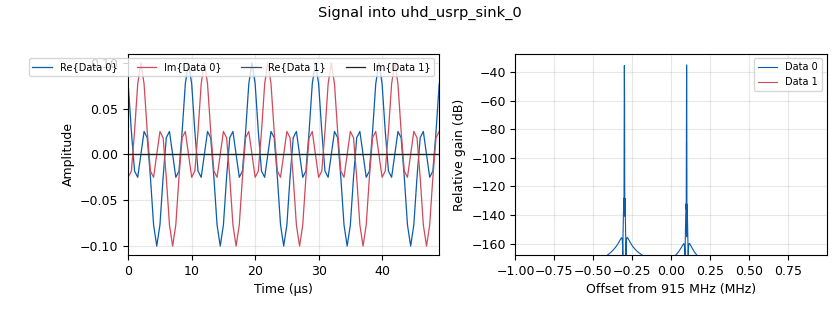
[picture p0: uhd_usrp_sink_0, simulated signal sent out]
<?xml version='1.0' encoding='utf-8'?>
<?grc format='1' created='3.7.13'?>
<flow_graph>
<block>
<key>options</key>
<param><key>id</key><value>top_block</value></param>
<param><key>generate_options</key><value>qt_gui</value></param>
</block>
<block>
<key>variable</key>
<param><key>id</key><value>bw</value></param>
<param><key>value</key><value>2e6</value></param>
</block>
<block>
<key>variable</key>
<param><key>id</key><value>center_freq</value></param>
<param><key>value</key><value>915e6</value></param>
</block>
<block>
<key>variable</key>
<param><key>id</key><value>fft_size</value></param>
<param><key>value</key><value>len(master_signal_1)</value></param>
</block>
<block>
<key>variable</key>
<param><key>id</key><value>master_signal_1</value></param>
<param><key>value</key><value>(0, 0, 0, 0, 0, 0, 0, 1, 0, 0, 0, 1, 0, 0, 0, 0, 0,  0, 0, 0)</value></param>
</block>
<block>
<key>variable</key>
<param><key>id</key><value>master_signal_2</value></param>
<param><key>value</key><value>(0, 0, 0, 0, 0,  0, 1, 0, 0, 0, 0, 0, 1, 0, 0, 0, 0, 0, 0, 0)</value></param>
</block>
<block>
<key>variable</key>
<param><key>id</key><value>power_gain</value></param>
<param><key>value</key><value>50</value></param>
</block>
<block>
<key>variable</key>
<param><key>id</key><value>samp_rate</value></param>
<param><key>value</key><value>2e6</value></param>
</block>
<block>
<key>blocks_file_sink</key>
<param><key>id</key><value>blocks_file_sink_0</value></param>
<param><key>file</key><value>/home/shiyue_deep/Desktop/master_rx_raw_data.bin</value></param>
<param><key>type</key><value>complex</value></param>
</block>
<block>
<key>blocks_multiply_const_vxx</key>
<param><key>id</key><value>blocks_multiply_const_vxx_0</value></param>
<param><key>const</key><value>0.05</value></param>
<param><key>type</key><value>complex</value></param>
</block>
<block>
<key>blocks_multiply_const_vxx</key>
<param><key>id</key><value>blocks_multiply_const_vxx_0_0</value></param>
<param><key>const</key><value>0</value></param>
<param><key>type</key><value>complex</value></param>
</block>
<block>
<key>blocks_null_sink</key>
<param><key>id</key><value>blocks_null_sink_0</value></param>
<param><key>bus_conns</key><value>[[0,],]</value></param>
<param><key>type</key><value>complex</value></param>
</block>
<block>
<key>blocks_stream_to_vector</key>
<param><key>id</key><value>blocks_stream_to_vector_0</value></param>
<param><key>type</key><value>complex</value></param>
<param><key>num_items</key><value>fft_size</value></param>
</block>
<block>
<key>blocks_vector_to_stream</key>
<param><key>id</key><value>blocks_vector_to_stream_0_0</value></param>
<param><key>type</key><value>complex</value></param>
<param><key>num_items</key><value>fft_size</value></param>
</block>
<block>
<key>blocks_vector_to_stream</key>
<param><key>id</key><value>blocks_vector_to_stream_0_0_0</value></param>
<param><key>type</key><value>complex</value></param>
<param><key>num_items</key><value>fft_size</value></param>
</block>
<block>
<key>blocks_vector_to_stream</key>
<param><key>id</key><value>blocks_vector_to_stream_0_0_0_0</value></param>
<param><key>type</key><value>complex</value></param>
<param><key>num_items</key><value>fft_size</value></param>
</block>
<block>
<key>fft_vxx</key>
<param><key>id</key><value>forward_fft_vxx</value></param>
<param><key>fft_size</key><value>fft_size</value></param>
<param><key>forward</key><value>True</value></param>
<param><key>type</key><value>complex</value></param>
<param><key>shift</key><value>True</value></param>
<param><key>window</key><value>()</value></param>
</block>
<block>
<key>qtgui_freq_sink_x</key>
<param><key>id</key><value>qtgui_freq_sink_x_0</value></param>
<param><key>bw</key><value>samp_rate</value></param>
<param><key>fc</key><value>center_freq</value></param>
<param><key>fftsize</key><value>1000</value></param>
<param><key>showports</key><value>True</value></param>
<param><key>type</key><value>complex</value></param>
<param><key>wintype</key><value>firdes.WIN_BLACKMAN_hARRIS</value></param>
</block>
<block>
<key>qtgui_time_sink_x</key>
<param><key>id</key><value>qtgui_time_sink_x_0</value></param>
<param><key>autoscale</key><value>True</value></param>
<param><key>color1</key><value>"blue"</value></param>
<param><key>label1</key><value></value></param>
<param><key>color2</key><value>"red"</value></param>
<param><key>label2</key><value></value></param>
<param><key>size</key><value>fft_size</value></param>
<param><key>srate</key><value>samp_rate</value></param>
<param><key>type</key><value>complex</value></param>
</block>
<block>
<key>fft_vxx</key>
<param><key>id</key><value>reverse_fft_vxx_0</value></param>
<param><key>fft_size</key><value>fft_size</value></param>
<param><key>forward</key><value>False</value></param>
<param><key>type</key><value>complex</value></param>
<param><key>shift</key><value>True</value></param>
<param><key>window</key><value>()</value></param>
</block>
<block>
<key>fft_vxx</key>
<param><key>id</key><value>reverse_fft_vxx_1</value></param>
<param><key>fft_size</key><value>fft_size</value></param>
<param><key>forward</key><value>False</value></param>
<param><key>type</key><value>complex</value></param>
<param><key>shift</key><value>True</value></param>
<param><key>window</key><value>()</value></param>
</block>
<block>
<key>uhd_usrp_sink</key>
<param><key>id</key><value>uhd_usrp_sink_0</value></param>
<param><key>ant0</key><value>TX/RX</value></param>
<param><key>bw0</key><value>bw</value></param>
<param><key>center_freq0</key><value>center_freq</value></param>
<param><key>norm_gain0</key><value>False</value></param>
<param><key>gain0</key><value>power_gain</value></param>
<param><key>ant1</key><value>TX/RX</value></param>
<param><key>bw1</key><value>bw</value></param>
<param><key>center_freq1</key><value>center_freq</value></param>
<param><key>norm_gain1</key><value>False</value></param>
<param><key>gain1</key><value>power_gain</value></param>
<param><key>clock_rate</key><value>0.0</value></param>
<param><key>dev_args</key><value>""</value></param>
<param><key>type</key><value>fc32</value></param>
<param><key>sd_spec0</key><value>A:A A:B</value></param>
<param><key>nchan</key><value>2</value></param>
<param><key>samp_rate</key><value>samp_rate</value></param>
<param><key>hide_cmd_port</key><value>False</value></param>
<param><key>hide_lo_controls</key><value>True</value></param>
<param><key>sync</key><value></value></param>
<param><key>len_tag_name</key><value></value></param>
</block>
<block>
<key>uhd_usrp_source</key>
<param><key>id</key><value>uhd_usrp_source_0</value></param>
<param><key>ant0</key><value>RX2</value></param>
<param><key>bw0</key><value>bw</value></param>
<param><key>center_freq0</key><value>center_freq</value></param>
<param><key>dc_offs_enb0</key><value>True</value></param>
<param><key>iq_imbal_enb0</key><value>True</value></param>
<param><key>norm_gain0</key><value>False</value></param>
<param><key>gain0</key><value>30</value></param>
<param><key>ant1</key><value>RX2</value></param>
<param><key>bw1</key><value>bw</value></param>
<param><key>center_freq1</key><value>center_freq</value></param>
<param><key>dc_offs_enb1</key><value>True</value></param>
<param><key>iq_imbal_enb1</key><value>True</value></param>
<param><key>norm_gain1</key><value>False</value></param>
<param><key>gain1</key><value>20</value></param>
<param><key>clock_rate</key><value>0.0</value></param>
<param><key>dev_args</key><value>""</value></param>
<param><key>sd_spec0</key><value>A:A A:B</value></param>
<param><key>nchan</key><value>2</value></param>
<param><key>type</key><value>fc32</value></param>
<param><key>samp_rate</key><value>samp_rate</value></param>
<param><key>hide_cmd_port</key><value>False</value></param>
<param><key>hide_lo_controls</key><value>True</value></param>
<param><key>sync</key><value></value></param>
</block>
<block>
<key>blocks_vector_source_x</key>
<param><key>id</key><value>vector_source_tx_1</value></param>
<param><key>type</key><value>complex</value></param>
<param><key>repeat</key><value>True</value></param>
<param><key>vlen</key><value>fft_size</value></param>
<param><key>vector</key><value>master_signal_1</value></param>
</block>
<block>
<key>blocks_vector_source_x</key>
<param><key>id</key><value>vector_source_tx_2</value></param>
<param><key>type</key><value>complex</value></param>
<param><key>repeat</key><value>True</value></param>
<param><key>vlen</key><value>fft_size</value></param>
<param><key>vector</key><value>master_signal_2</value></param>
</block>
<connection><source_block_id>blocks_multiply_const_vxx_0</source_block_id><sink_block_id>uhd_usrp_sink_0</sink_block_id><source_key>0</source_key><sink_key>0</sink_key></connection>
<connection><source_block_id>blocks_multiply_const_vxx_0_0</source_block_id><sink_block_id>uhd_usrp_sink_0</sink_block_id><source_key>0</source_key><sink_key>1</sink_key></connection>
<connection><source_block_id>blocks_stream_to_vector_0</source_block_id><sink_block_id>forward_fft_vxx</sink_block_id><source_key>0</source_key><sink_key>0</sink_key></connection>
<connection><source_block_id>blocks_vector_to_stream_0_0</source_block_id><sink_block_id>qtgui_time_sink_x_0</sink_block_id><source_key>0</source_key><sink_key>0</sink_key></connection>
<connection><source_block_id>blocks_vector_to_stream_0_0_0</source_block_id><sink_block_id>blocks_multiply_const_vxx_0</sink_block_id><source_key>0</source_key><sink_key>0</sink_key></connection>
<connection><source_block_id>blocks_vector_to_stream_0_0_0_0</source_block_id><sink_block_id>blocks_multiply_const_vxx_0_0</sink_block_id><source_key>0</source_key><sink_key>0</sink_key></connection>
<connection><source_block_id>forward_fft_vxx</source_block_id><sink_block_id>blocks_vector_to_stream_0_0</sink_block_id><source_key>0</source_key><sink_key>0</sink_key></connection>
<connection><source_block_id>reverse_fft_vxx_0</source_block_id><sink_block_id>blocks_vector_to_stream_0_0_0_0</sink_block_id><source_key>0</source_key><sink_key>0</sink_key></connection>
<connection><source_block_id>reverse_fft_vxx_1</source_block_id><sink_block_id>blocks_vector_to_stream_0_0_0</sink_block_id><source_key>0</source_key><sink_key>0</sink_key></connection>
<connection><source_block_id>uhd_usrp_source_0</source_block_id><sink_block_id>blocks_file_sink_0</sink_block_id><source_key>0</source_key><sink_key>0</sink_key></connection>
<connection><source_block_id>uhd_usrp_source_0</source_block_id><sink_block_id>blocks_stream_to_vector_0</sink_block_id><source_key>0</source_key><sink_key>0</sink_key></connection>
<connection><source_block_id>uhd_usrp_source_0</source_block_id><sink_block_id>qtgui_freq_sink_x_0</sink_block_id><source_key>0</source_key><sink_key>0</sink_key></connection>
<connection><source_block_id>uhd_usrp_source_0</source_block_id><sink_block_id>blocks_null_sink_0</sink_block_id><source_key>1</source_key><sink_key>0</sink_key></connection>
<connection><source_block_id>vector_source_tx_1</source_block_id><sink_block_id>reverse_fft_vxx_1</sink_block_id><source_key>0</source_key><sink_key>0</sink_key></connection>
<connection><source_block_id>vector_source_tx_2</source_block_id><sink_block_id>reverse_fft_vxx_0</sink_block_id><source_key>0</source_key><sink_key>0</sink_key></connection>
</flow_graph>
